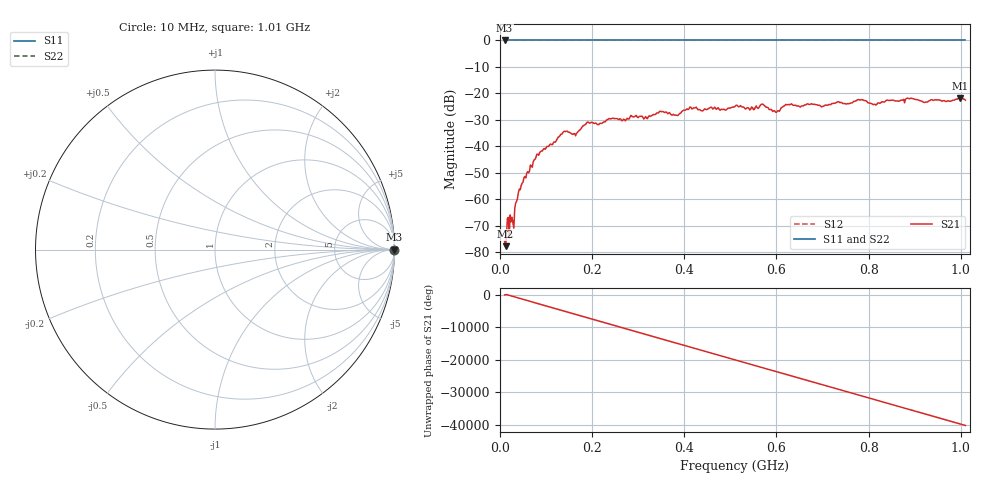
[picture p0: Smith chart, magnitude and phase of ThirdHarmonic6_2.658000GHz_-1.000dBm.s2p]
! 8/17/2025 6:06:41 AM
! C:\ANRITSUVNA\TEMP\TEMP.S2P
! CHANNEL.1
! TR.MEASUREMENT
! RAW.DATA
! RF.CORRECTION.OFF
! AVERAGING.OFF
! IF.BANDWIDTH: 5KHZ
! SWEEPTYPE:  FREQ.SWEEP(Linear)
! Reference Plane Port Info
! PORT:  PORT1  PORT2
! DISTANCE:  0  m  0  m
! TIME:  0  s  0  s
! PHASE.OFFSET:  0  deg.  0  deg.
! LOSS:  0  dB  0  dB
! REF.LOSS:  0  dB  0  dB
! REF.FREQ:  0  Hz  0  Hz
! Power Info
! POWER:  -20  dBm  -20  dBm
! EFF.POWER:  -20  dBm  -20  dBm
! SOURCE.ATTEN:  0  dB  0  dB
! TEST.ATTEN:  0  dB  0  dB
# GHZ S RI R 50.0
! FREQ.GHZ  S11RE  S11IM  S21RE  S21IM  S12RE  S12IM  S22RE  S22IM
!; PortSelection: Port_12
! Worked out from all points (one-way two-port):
!   501 points, 10 MHz to 1.01 GHz, reference 50 ohm
!   highest |S21| = -21.73 dB at 998 MHz (marker M1); lowest = -77.8 dB at 12 MHz (marker M2)
!   lowest |S11| = 0.0 dB at 10 MHz (marker M3)
!   |S11| at or under -10 dB: nowhere
!   |S22| runs from 0.0 to 0.0 dB; largest |S21 - S12| = 1.1
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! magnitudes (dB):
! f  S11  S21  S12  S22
! 10 MHz  0.0  -76.0  0.0  0.0
! 12 MHz  0.0  -77.8  0.0  0.0
! 20 MHz  0.0  -74.7  0.0  0.0
! 28 MHz  0.0  -69.0  0.0  0.0
! 44 MHz  0.0  -56.4  0.0  0.0
! 78 MHz  0.0  -44.2  0.0  0.0
! 136 MHz  0.0  -35.0  0.0  0.0
! 162 MHz  0.0  -35.2  0.0  0.0
! 178 MHz  0.0  -32.7  0.0  0.0
! 344 MHz  0.0  -27.4  0.0  0.0
! 382 MHz  0.0  -28.2  0.0  0.0
! 410 MHz  0.0  -25.9  0.0  0.0
! 510 MHz  0.0  -24.9  0.0  0.0
! 570 MHz  0.0  -24.1  0.0  0.0
! 602 MHz  0.0  -26.7  0.0  0.0
! 622 MHz  0.0  -24.3  0.0  0.0
! 678 MHz  0.0  -24.1  0.0  0.0
! 782 MHz  0.0  -22.5  0.0  0.0
! 814 MHz  0.0  -24.2  0.0  0.0
! 844 MHz  0.0  -22.7  0.0  0.0
! 998 MHz  0.0  -21.7  0.0  0.0
! 1.01 GHz  0.0  -22.6  0.0  0.0
